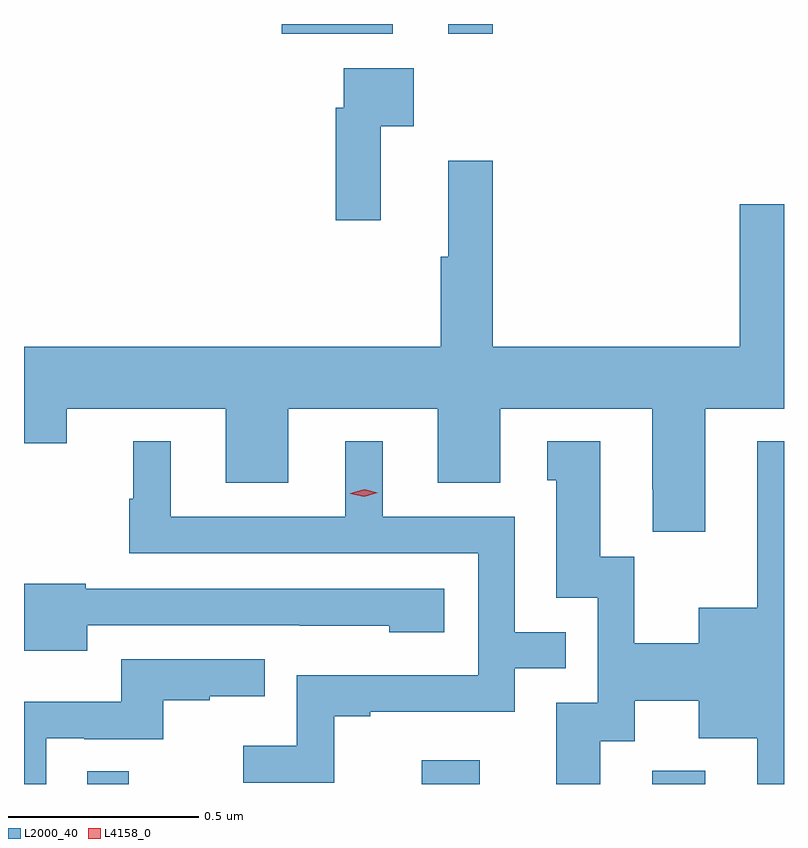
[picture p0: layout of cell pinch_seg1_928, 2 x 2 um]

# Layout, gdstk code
import gdstk
lib = gdstk.Library(unit=1e-6, precision=1e-09)
def R(c, l, rs):  # rectangles x0, y0, x1, y1
    for r in rs: c.add(gdstk.rectangle(r[:2], r[2:], *l))
def P(c, l, *ps):  # polygons
    for p in ps: c.add(gdstk.Polygon(p, *l))
L2000_40 = (2000, 40)
L4158_0 = (4158, 0)

pinch_seg1_928 = lib.new_cell('pinch_seg1_928')
R(pinch_seg1_928, L2000_40, [(594.858,537.425,594.967,537.458), (595.739,537.425,595.891,537.487), (596.345,537.425,596.485,537.46), (595.37,539.399,595.663,539.425), (595.808,539.4,595.925,539.425)])
P(pinch_seg1_928, L2000_40, [(595.631,539.156),(595.717,539.156),(595.717,539.308),(595.533,539.308),(595.533,539.204),(595.513,539.204),(595.513,538.908),(595.631,538.908)],
  [(596.485,538.412),(596.692,538.412),(596.692,538.951),(596.576,538.951),(596.576,538.576),(595.925,538.576),(595.925,539.065),(595.808,539.065),(595.808,538.812),(595.789,538.812),(595.789,538.576),(594.692,538.576),(594.692,538.322),(594.805,538.322),(594.805,538.412),(595.223,538.412),(595.223,538.218),(595.387,538.218),(595.387,538.412),(595.781,538.412),(595.781,538.218),(595.945,538.218),(595.945,538.412),(596.345,538.412),(596.345,538.201),(596.346,538.201),(596.346,538.089),(596.485,538.089)],
  [(596.209,537.538),(596.299,537.538),(596.299,537.644),(596.468,537.644),(596.468,537.545),(596.621,537.545),(596.621,537.425),(596.692,537.425),(596.692,538.327),(596.621,538.327),(596.621,537.889),(596.468,537.889),(596.468,537.796),(596.298,537.796),(596.298,538.023),(596.209,538.023),(596.209,538.327),(596.069,538.327),(596.069,538.224),(596.093,538.224),(596.093,537.915),(596.202,537.915),(596.202,537.639),(596.093,537.639),(596.093,537.425),(596.209,537.425)],
  [(595.509,537.603),(595.603,537.603),(595.603,537.615),(595.983,537.615),(595.983,537.729),(596.117,537.729),(596.117,537.825),(595.983,537.825),(595.983,538.128),(595.636,538.128),(595.636,538.327),(595.538,538.327),(595.538,538.128),(595.078,538.128),(595.078,538.327),(594.98,538.327),(594.98,538.176),(594.969,538.176),(594.969,538.032),(595.887,538.032),(595.887,537.711),(595.41,537.711),(595.41,537.526),(595.269,537.526),(595.269,537.428),(595.509,537.428)],
  [(594.859,537.843),(595.417,537.843),(595.417,537.842),(595.653,537.842),(595.653,537.824),(595.798,537.824),(595.798,537.939),(594.855,537.939),(594.855,537.952),(594.692,537.952),(594.692,537.776),(594.859,537.776)],
  [(594.75,537.546),(594.85,537.546),(594.85,537.543),(595.058,537.543),(595.058,537.645),(595.181,537.645),(595.181,537.656),(595.325,537.656),(595.325,537.753),(594.948,537.753),(594.948,537.641),(594.692,537.641),(594.692,537.425),(594.75,537.425)])
P(pinch_seg1_928, L4158_0, [(595.587,538.181),(595.551,538.189),(595.551,538.19),(595.551,538.19),(595.587,538.201),(595.623,538.192),(595.623,538.192),(595.623,538.192)])

lib.write_gds('pinch_seg1_928.gds')
